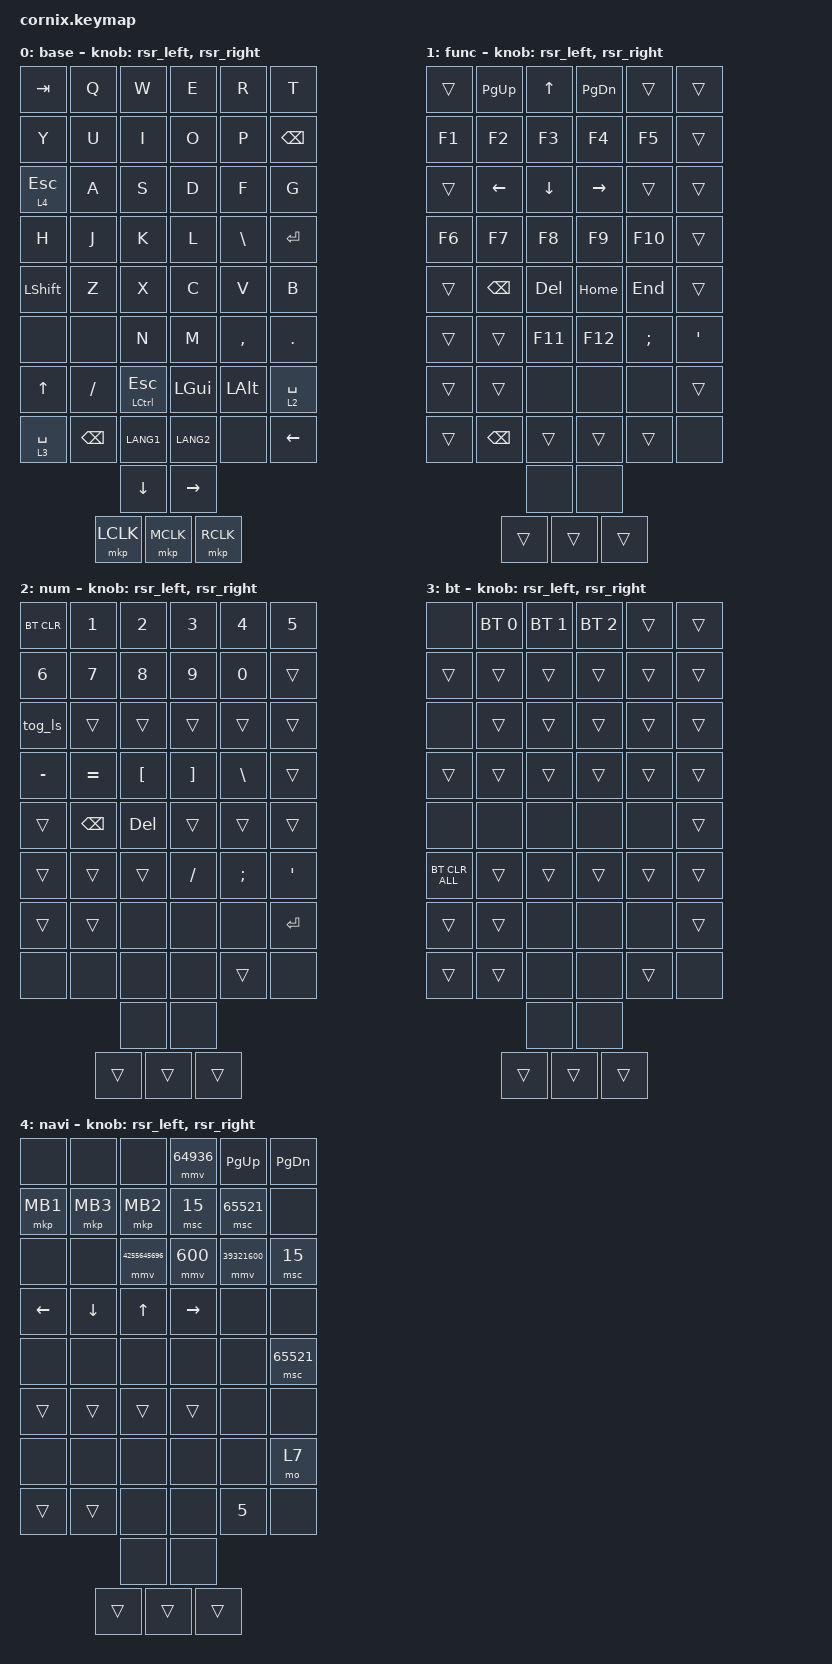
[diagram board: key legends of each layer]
/*
 * Copyright (c) 2020 The ZMK Contributors
 *
 * SPDX-License-Identifier: MIT
 */

#include "zmk-helpers/helper.h"
#include "includes/cornix54.h"
#include <behaviors.dtsi>
#include <behaviors/runtime_macro.dtsi>
#include <behaviors/runtime-sensor-rotate.dtsi>
#include <dt-bindings/zmk/bt.h>
#include <dt-bindings/zmk/keys.h>

// quick tapping for shift
#define BASE 0
#define FUNC 1
#define NUM 2
#define ADJUST 3
#define NAVI 4

#define JP_DQUOTE       AT                // "
#define JP_AMPERSAND    CARET             // &
#define JP_QUOTE        AMPERSAND         // '
#define JP_EQUAL        UNDER             // =
#define JP_CARET        EQUAL             // ^
#define JP_YEN          0x89              // ¥
#define JP_PLUS         COLON             // +
#define JP_TILDE        PLUS              // ~
#define JP_PIPE         LS(0x89)          // |
#define JP_AT           LEFT_BRACKET      // @
#define JP_COLON        SINGLE_QUOTE      // :
#define JP_ASTERISK     DOUBLE_QUOTES     // *
#define JP_BACKQUOTE    LEFT_BRACE        // `
#define JP_UNDERSCORE   LS(0x87)          // _
#define JP_LBRACKET     RIGHT_BRACKET     // [
#define JP_RBRACKET     BACKSLASH         // ]
#define JP_LPAREN       ASTERISK          // (
#define JP_RPAREN       LEFT_PARENTHESIS  // )
#define JP_LBRACE       RIGHT_BRACE       // {
#define JP_RBRACE       PIPE              // }
#define JP_KANA         LANGUAGE_1        // かな
#define JP_EISU         LANGUAGE_2        // 英数
#define JP_HANZEN       GRAVE             // 半角/全角
#define JP_BSLH         INT1              // (backslash)
#define JP_LESS_THAN    LS(COMMA)         // <
#define JP_GREATER_THAN LS(DOT)           // >

#define ZMK_POINTING_DEFAULT_SCRL_VAL 100

#include <behaviors.dtsi>
#include <dt-bindings/zmk/bt.h>
#include <dt-bindings/zmk/ext_power.h>
#include <dt-bindings/zmk/keys.h>
#include <dt-bindings/zmk/pointing.h>
#include <layout_shift_kp_override.dtsi>

&tog_ls {
    layout-maps = <&layout_shift_map_us_to_jis>;
};

/ {
    // Activate ADJUST layer by pressing raise and lower

    behaviors {
        rsr_left: rsr_left {
            compatible = "zmk,behavior-runtime-sensor-rotate";
            #sensor-binding-cells = <0>;
            tap-ms = <5>;
            cw-binding = <&msc SCRL_DOWN>;
            ccw-binding = <&msc SCRL_UP>;
        };

        rsr_right: rsr_right {
            compatible = "zmk,behavior-runtime-sensor-rotate";
            #sensor-binding-cells = <0>;
            tap-ms = <5>;
            cw-binding = <&kp PG_UP>;
            ccw-binding = <&kp PG_DN>;
        };
    };

    keymap {
        compatible = "zmk,keymap";
        base {
            bindings = <
                &kp TAB    &kp Q    &kp W    &kp E    &kp R    &kp T
                &kp Y    &kp U    &kp I    &kp O    &kp P    &kp BACKSPACE
                &lt 4 ESCAPE    &kp A    &kp S    &kp D    &kp F    &kp G
                &kp H    &kp J    &kp K    &kp L    &kp BACKSLASH    &kp RETURN
                &kp LEFT_SHIFT    &kp Z    &kp X    &kp C    &kp V    &kp B
                &none    &none    &kp N    &kp M    &kp COMMA    &kp PERIOD
                &kp UP    &kp SLASH    &mt LEFT_CONTROL ESCAPE    &kp LEFT_GUI    &kp LEFT_ALT    &lt 2 SPACE
                &lt 3 SPACE    &kp BACKSPACE    &kp LANG1    &kp LANG2    &none    &kp LEFT
                &kp DOWN    &kp RIGHT
                &mkp LCLK   &mkp MCLK   &mkp RCLK
            >;
            sensor-bindings = <&rsr_left>, <&rsr_right>;
        };
        func {
            bindings = <
                &trans    &kp PAGE_UP    &kp UP    &kp PAGE_DOWN    &trans    &trans
                &kp F1    &kp F2    &kp F3    &kp F4    &kp F5    &trans
                &trans    &kp LEFT    &kp DOWN    &kp RIGHT    &trans    &trans
                &kp F6    &kp F7    &kp F8    &kp F9    &kp F10    &trans
                &trans    &kp BACKSPACE    &kp DELETE    &kp HOME    &kp END    &trans
                &trans    &trans    &kp F11    &kp F12    &kp SEMICOLON    &kp SQT
                &trans    &trans    &none    &none    &none    &trans
                &trans    &kp BACKSPACE    &trans    &trans    &trans    &none
                &none    &none
                &trans   &trans   &trans
            >;
            sensor-bindings = <&rsr_left>, <&rsr_right>;
        };
        num {
            bindings = <
                &bt BT_CLR    &kp N1    &kp N2    &kp N3    &kp N4    &kp N5
                &kp N6    &kp N7    &kp N8    &kp N9    &kp N0    &trans
                &tog_ls     &trans    &trans    &trans    &trans    &trans
                &kp MINUS    &kp EQUAL    &kp LEFT_BRACKET    &kp RIGHT_BRACKET    &kp BACKSLASH    &trans
                &trans    &kp BACKSPACE    &kp DELETE    &trans    &trans    &trans
                &trans    &trans    &trans    &kp SLASH    &kp SEMICOLON    &kp SQT
                &trans    &trans    &none    &none    &none    &kp RETURN
                &none    &none    &none    &none    &trans    &none
                &none    &none
                &trans   &trans   &trans
            >;
            sensor-bindings = <&rsr_left>, <&rsr_right>;
        };
        bt {
            bindings = <
                &none    &bt BT_SEL 0    &bt BT_SEL 1    &bt BT_SEL 2    &trans    &trans
                &trans    &trans    &trans    &trans    &trans    &trans
                &none    &trans    &trans    &trans    &trans    &trans
                &trans    &trans    &trans    &trans    &trans    &trans
                &none    &none    &none    &none    &none    &trans
                &bt BT_CLR_ALL    &trans    &trans    &trans    &trans    &trans
                &trans    &trans    &none    &none    &none    &trans
                &trans    &trans    &none    &none    &trans    &none
                &none    &none
                &trans   &trans   &trans
            >;
            sensor-bindings = <&rsr_left>, <&rsr_right>;
        };
        navi {
            bindings = <
                &none    &none    &none    &mmv 64936    &kp PAGE_UP    &kp PAGE_DOWN
                &mkp MB1    &mkp MB3    &mkp MB2    &msc 15    &msc 65521    &none
                &none    &none    &mmv 4255645696    &mmv 600    &mmv 39321600    &msc 15
                &kp LEFT    &kp DOWN    &kp UP    &kp RIGHT    &none    &none
                &none    &none    &none    &none    &none    &msc 65521
                &trans    &trans    &trans    &trans    &none    &none
                &none    &none    &none    &none    &none    &mo 7
                &trans    &trans    &none    &none    &kp N5    &none
                &none    &none
                &trans   &trans   &trans
            >;
            sensor-bindings = <&rsr_left>, <&rsr_right>;
        };
    };
};
